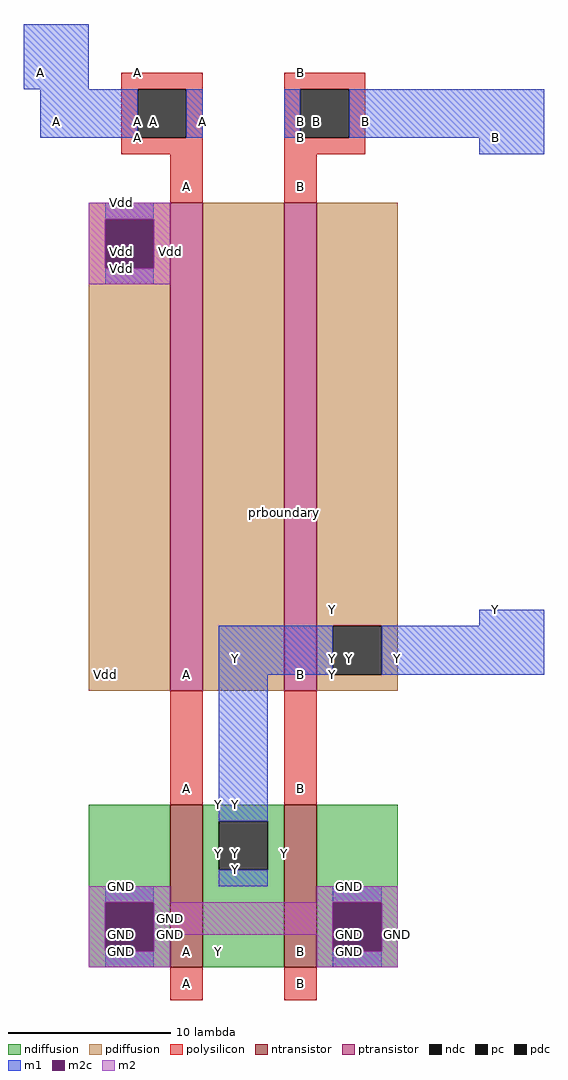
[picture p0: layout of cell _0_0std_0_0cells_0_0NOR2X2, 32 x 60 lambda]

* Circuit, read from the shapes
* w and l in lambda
.subckt _0_0std_0_0cells_0_0NOR2X2 Y B A
M1 Y A GND VSUBS nfet w=10 l=2
M2 GND B Y VSUBS nfet w=10 l=2
M3 n1 A Vdd NWELL pfet w=30 l=2
M4 Y B n1 NWELL pfet w=30 l=2
.ends

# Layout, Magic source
magic
tech sky130l
<< ndiffusion >>
rect 8 10 13 16
rect 8 7 9 10
rect 12 7 13 10
rect 8 6 13 7
rect 15 15 20 16
rect 15 12 16 15
rect 19 12 20 15
rect 15 6 20 12
rect 22 10 27 16
rect 22 7 23 10
rect 26 7 27 10
rect 22 6 27 7
<< ndc >>
rect 9 7 12 10
rect 16 12 19 15
rect 23 7 26 10
<< ntransistor >>
rect 13 6 15 16
rect 20 6 22 16
<< pdiffusion >>
rect 8 52 13 53
rect 8 49 9 52
rect 12 49 13 52
rect 8 23 13 49
rect 15 23 20 53
rect 22 27 27 53
rect 22 24 23 27
rect 26 24 27 27
rect 22 23 27 24
<< pdc >>
rect 9 49 12 52
rect 23 24 26 27
<< ptransistor >>
rect 13 23 15 53
rect 20 23 22 53
<< polysilicon >>
rect 10 60 15 61
rect 10 57 11 60
rect 14 57 15 60
rect 10 56 15 57
rect 13 53 15 56
rect 20 60 25 61
rect 20 57 21 60
rect 24 57 25 60
rect 20 56 25 57
rect 20 53 22 56
rect 13 16 15 23
rect 20 16 22 23
rect 13 4 15 6
rect 20 4 22 6
<< pc >>
rect 11 57 14 60
rect 21 57 24 60
<< m1 >>
rect 4 60 8 64
rect 5 57 11 60
rect 14 57 15 60
rect 20 57 21 60
rect 24 57 36 60
rect 32 56 36 57
rect 9 52 12 53
rect 9 48 12 49
rect 32 27 36 28
rect 16 24 23 27
rect 26 24 36 27
rect 16 15 19 24
rect 16 11 19 12
rect 9 10 12 11
rect 9 6 12 7
rect 23 10 26 11
rect 23 6 26 7
<< m2c >>
rect 9 49 12 52
rect 9 7 12 10
rect 23 7 26 10
<< m2 >>
rect 8 52 13 53
rect 8 49 9 52
rect 12 49 13 52
rect 8 48 13 49
rect 8 10 13 11
rect 22 10 27 11
rect 8 7 9 10
rect 12 8 23 10
rect 12 7 13 8
rect 8 6 13 7
rect 22 7 23 8
rect 26 7 27 10
rect 22 6 27 7
<< labels >>
rlabel space 0 0 40 68 6 prboundary
rlabel ndiffusion 20 13 20 13 3 Y
rlabel pdiffusion 23 24 23 24 3 Y
rlabel pdiffusion 23 25 23 25 3 Y
rlabel pdiffusion 23 28 23 28 3 Y
rlabel polysilicon 21 54 21 54 3 B
rlabel polysilicon 21 57 21 57 3 B
rlabel polysilicon 21 61 21 61 3 B
rlabel polysilicon 21 5 21 5 3 B
rlabel ntransistor 21 7 21 7 3 B
rlabel polysilicon 21 17 21 17 3 B
rlabel ptransistor 21 24 21 24 3 B
rlabel ndiffusion 16 7 16 7 3 Y
rlabel ndiffusion 16 13 16 13 3 Y
rlabel ndiffusion 16 16 16 16 3 Y
rlabel polysilicon 14 54 14 54 3 A
rlabel polysilicon 14 5 14 5 3 A
rlabel ntransistor 14 7 14 7 3 A
rlabel polysilicon 14 17 14 17 3 A
rlabel ptransistor 14 24 14 24 3 A
rlabel polysilicon 11 57 11 57 3 A
rlabel polysilicon 11 58 11 58 3 A
rlabel polysilicon 11 61 11 61 3 A
rlabel pdiffusion 9 24 9 24 3 Vdd
rlabel m1 33 28 33 28 3 Y
port 1 e
rlabel m1 33 57 33 57 3 B
port 2 e
rlabel m1 25 58 25 58 3 B
port 2 e
rlabel pc 22 58 22 58 3 B
port 2 e
rlabel m1 27 25 27 25 3 Y
port 1 e
rlabel m1 21 58 21 58 3 B
port 2 e
rlabel m1 24 11 24 11 3 GND
rlabel pdc 24 25 24 25 3 Y
port 1 e
rlabel m1 24 7 24 7 3 GND
rlabel m1 17 12 17 12 3 Y
port 1 e
rlabel ndc 17 13 17 13 3 Y
port 1 e
rlabel m1 17 16 17 16 3 Y
port 1 e
rlabel m1 17 25 17 25 3 Y
port 1 e
rlabel m1 15 58 15 58 3 A
port 3 e
rlabel m1 10 7 10 7 3 GND
rlabel m1 10 11 10 11 3 GND
rlabel m1 10 49 10 49 3 Vdd
rlabel m1 10 53 10 53 3 Vdd
rlabel pc 12 58 12 58 3 A
port 3 e
rlabel m1 6 58 6 58 3 A
port 3 e
rlabel m1 5 61 5 61 3 A
port 3 e
rlabel m2 27 8 27 8 3 GND
rlabel m2c 24 8 24 8 3 GND
rlabel m2 23 8 23 8 3 GND
rlabel m2 23 7 23 7 3 GND
rlabel m2 13 8 13 8 3 GND
rlabel m2 13 9 13 9 3 GND
rlabel m2 23 11 23 11 3 GND
rlabel m2 13 50 13 50 3 Vdd
rlabel m2c 10 8 10 8 3 GND
rlabel m2c 10 50 10 50 3 Vdd
rlabel m2 9 7 9 7 3 GND
rlabel m2 9 8 9 8 3 GND
rlabel m2 9 11 9 11 3 GND
rlabel m2 9 49 9 49 3 Vdd
rlabel m2 9 50 9 50 3 Vdd
rlabel m2 9 53 9 53 3 Vdd
<< end >>
